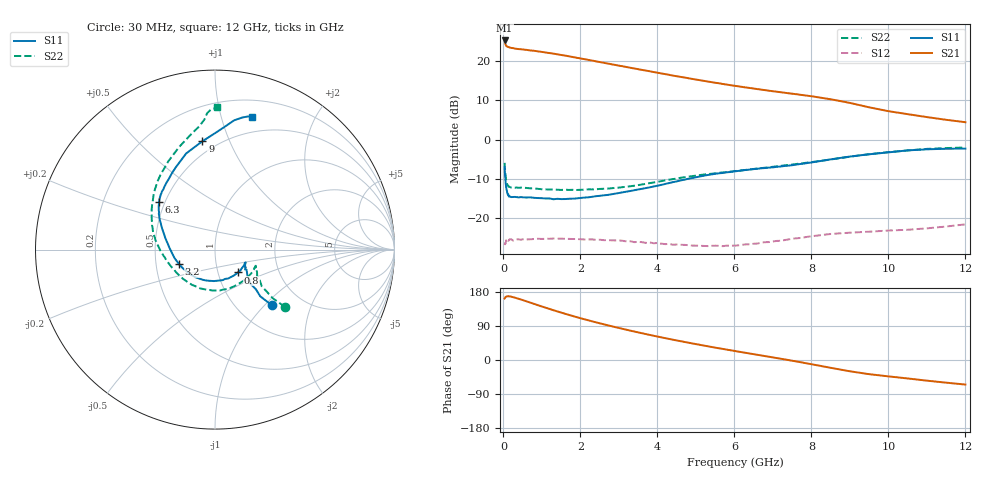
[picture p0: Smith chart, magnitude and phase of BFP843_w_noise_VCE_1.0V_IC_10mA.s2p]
! Infineon Technologies  Discrete & RF Semiconductors
! BFP843
! VCE =  1.0 V,  IC =  10 mA
! Common Emitter S-Parameters:  Aug 2013
# GHz  S  MA  R  50
!  f  S11  S21  S12  S22
! GHz  MAG  ANG  MAG  ANG  MAG  ANG  MAG  ANG
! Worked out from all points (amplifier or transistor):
!   103 points, 30 MHz to 12 GHz, reference 50 ohm
!   highest |S21| = 25.3 dB at 30 MHz (marker M1)
!   |S21| within 3 dB of that: start of sweep to 1.047 GHz
!   unconditionally stable (mu >= 1): 163.4 MHz to 11.22 GHz
!   at 400 MHz: K = 1.01, MAG = 23.6 dB, |S12| = -25.5 dB
!   at 3.7 GHz: K = 1.33, MAG = 18.6 dB, |S12| = -26.4 dB
!   at 12 GHz: K = 0.89, MSG = 13.1 dB, |S12| = -21.7 dB
!   lowest NFmin = 0.92 dB at 450 MHz
!   S11 on the Smith chart (normalised r, x): 30 MHz: 1.43, -1.10; 800 MHz: 1.25, -0.33; 3.2 GHz: 0.66, -0.11; 6.3 GHz: 0.46, +0.29; 9 GHz: 0.42, +0.80; 12 GHz: 0.35, +1.26
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0.03  0.4439 -44.4  18.49 162.3  0.0449 31.9  0.5048 -39.3
0.04  0.3616 -45.9  17.29 163.4  0.0475 23.3  0.4209 -40.1
0.05  0.3175 -44.1  16.62 165.8  0.0467 23.3  0.3684 -39.0
0.07  0.2467 -40.6  15.76 167.2  0.0517 12.0  0.3017 -34.4
0.13  0.1988 -30.0  15.21 168.5  0.0511 7.0  0.2508 -26.1
0.3  0.1853 -22.9  14.57 164.4  0.0528 3.9  0.2429 -22.4
0.8  0.1803 -44.8  13.63 147.9  0.0537 -1.0  0.2381 -43.3
1.1  0.1769 -60.0  12.97 137.9  0.0542 -2.0  0.2313 -58.7
1.4  0.1753 -76.1  12.3 128.2  0.0543 -3.5  0.229 -73.5
1.7  0.1755 -92.0  11.6 119.0  0.0539 -4.5  0.2276 -87.9
2.1  0.1816 -112.4  10.67 107.5  0.053 -7.1  0.229 -106.5
2.7  0.1962 -138.9  9.399 91.8  0.0519 -9.8  0.2366 -130.7
3.2  0.2164 -158.1  8.456 79.7  0.05 -9.9  0.2502 -149.3
4.1  0.264 173.3  7.013 59.8  0.0468 -11.9  0.2947 -175.7
5  0.3301 155.4  5.857 41.9  0.0442 -8.8  0.3469 167.4
6.1  0.3978 142.0  4.796 22.2  0.0446 -1.9  0.4001 151.8
6.3  0.4097 139.8  4.634 18.8  0.0459 -0.3  0.4106 149.1
7.6  0.4786 121.4  3.807 -3.7  0.0548 2.2  0.4875 132.0
8.5  0.5592 106.7  3.279 -20.6  0.0623 -1.1  0.5568 117.8
9  0.6079 96.6  2.944 -29.8  0.0647 -4.1  0.6048 109.4
10.5  0.728 81.6  2.114 -48.7  0.0705 -9.1  0.7266 94.7
12  0.768 74.4  1.669 -64.8  0.0826 -15.4  0.7921 89.1
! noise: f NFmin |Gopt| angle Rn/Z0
0.45  0.92  0.06  5  0.02
0.9  0.93  0.06  16  0.04
1.5  0.95  0.06  26  0.1
1.9  0.97  0.06  34  0.18
2.4  1  0.04  44  0.24
3.5  1.06  0.02  59  0.27
5.5  1.19  0.17  -124  0.32
10  1.82  0.5  -67  0.43
